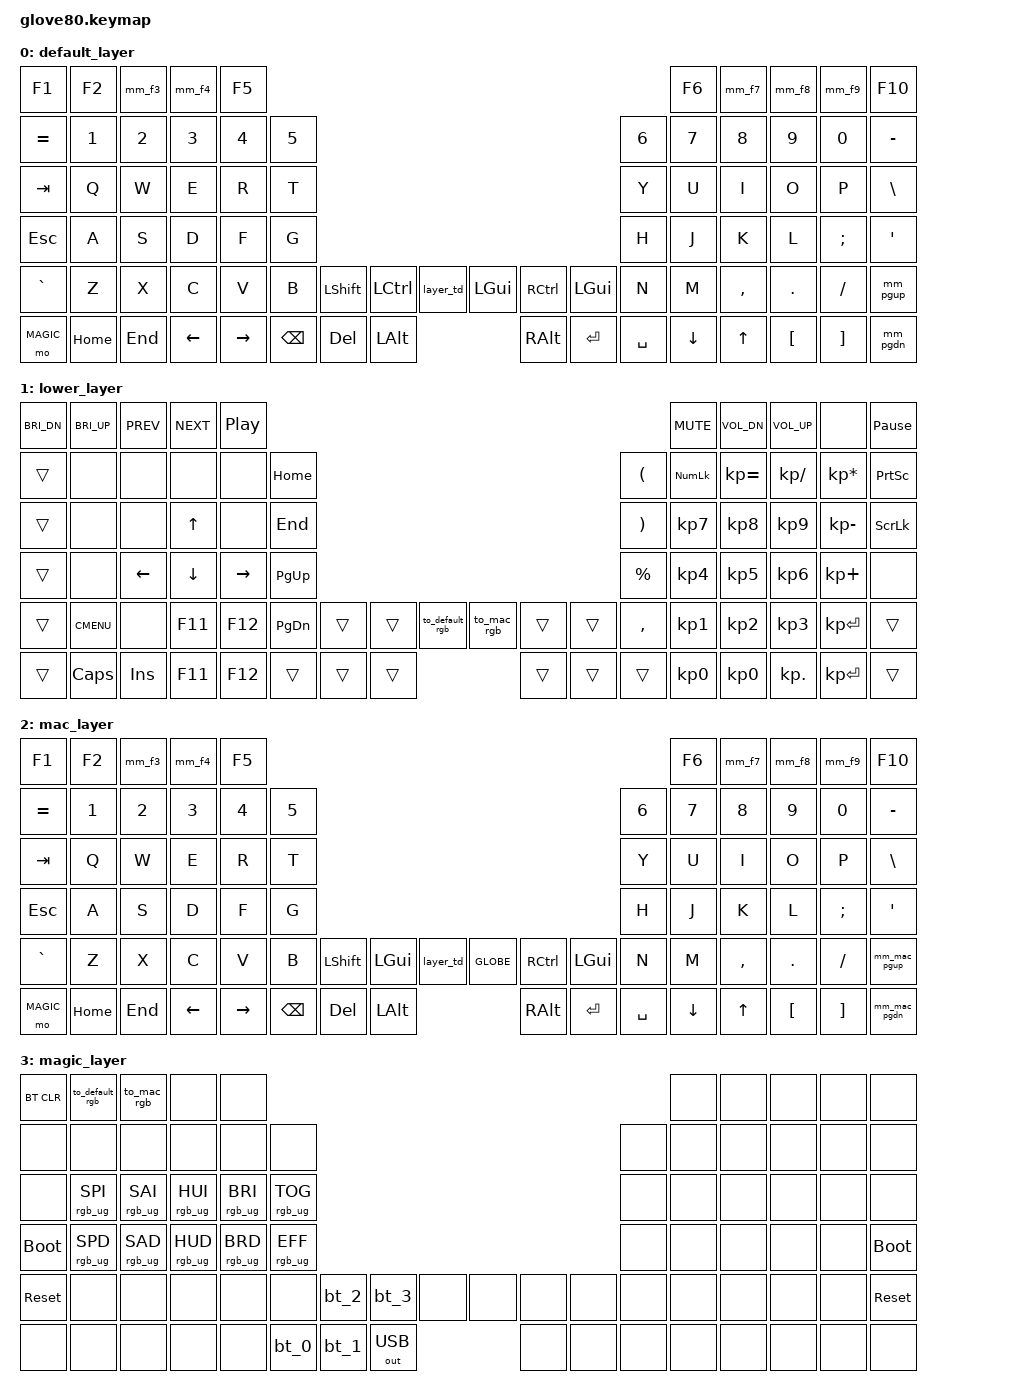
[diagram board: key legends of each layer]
/*
 * Copyright (c) 2020 The ZMK Contributors
 *
 * SPDX-License-Identifier: MIT
 */

#include <behaviors.dtsi>
#include <dt-bindings/zmk/keys.h>
#include <dt-bindings/zmk/bt.h>
#include <dt-bindings/zmk/ext_power.h>
#include <dt-bindings/zmk/outputs.h>
#include <dt-bindings/zmk/rgb.h>

// layers
#define DEFAULT 0
#define LOWER 1
#define MAC 2
#define MAGIC 3

/ {
    behaviors {
        // For the "layer" key, it'd nice to be able to use it as either a shift or a toggle.
        // Configure it as a tap dance, so the first tap (or hold) is a &mo and the second tap is a &to
        layer_td: tap_dance_0 {
            compatible = "zmk,behavior-tap-dance";
            #binding-cells = <0>;
            tapping-term-ms = <200>;
            bindings = <&mo LOWER>, <&to LOWER>;
        };

        // F3 = Prev Track | Ctrl+F3 = F3
        mm_f3: mm_f3 {
            compatible = "zmk,behavior-mod-morph";
            #binding-cells = <0>;
            bindings = <&kp C_PREV>, <&kp F3>;
            mods = <(MOD_LCTL|MOD_RCTL)>;
        };

        // F4 = Next Track | Ctrl+F4 = F4
        mm_f4: mm_f4 {
            compatible = "zmk,behavior-mod-morph";
            #binding-cells = <0>;
            bindings = <&kp C_NEXT>, <&kp F4>;
            mods = <(MOD_LCTL|MOD_RCTL)>;
        };

        // F7 = Play/Pause | Ctrl+F7 = F7
        mm_f7: mm_f7 {
            compatible = "zmk,behavior-mod-morph";
            #binding-cells = <0>;
            bindings = <&kp C_PP>, <&kp F7>;
            mods = <(MOD_LCTL|MOD_RCTL)>;
        };

        // F8 = Vol Down | Ctrl+F8 = F8
        mm_f8: mm_f8 {
            compatible = "zmk,behavior-mod-morph";
            #binding-cells = <0>;
            bindings = <&kp C_VOL_DN>, <&kp F8>;
            mods = <(MOD_LCTL|MOD_RCTL)>;
        };

        // F9 = Vol Up | Ctrl+F9 = F9
        mm_f9: mm_f9 {
            compatible = "zmk,behavior-mod-morph";
            #binding-cells = <0>;
            bindings = <&kp C_VOL_UP>, <&kp F9>;
            mods = <(MOD_LCTL|MOD_RCTL)>;
        };

        // PgUp = Ctrl+Tab | Ctrl+PgUp = PgUp
        mm_pgup: mm_pgup {
            compatible = "zmk,behavior-mod-morph";
            #binding-cells = <0>;
            bindings = <&mc_ctrl_tab>, <&kp PG_UP>;
            mods = <(MOD_LCTL|MOD_RCTL)>;
        };

        // PgDn = Ctrl+Shift+Tab | Ctrl+PgDn = PgDn
        mm_pgdn: mm_pgdn {
            compatible = "zmk,behavior-mod-morph";
            #binding-cells = <0>;
            bindings = <&mc_ctrl_shift_tab>, <&kp PG_DN>;
            mods = <(MOD_LCTL|MOD_RCTL)>;
        };

        // Mac PgUp = Opt+Cmd+Right | Ctrl+PgUp = PgUp
        mm_mac_pgup: mm_mac_pgup {
            compatible = "zmk,behavior-mod-morph";
            #binding-cells = <0>;
            bindings = <&mc_opt_cmd_right>, <&kp PG_UP>;
            mods = <(MOD_LCTL|MOD_RCTL)>;
        };

        // Mac PgDn = Opt+Cmd+Left | Ctrl+PgDn = PgDn
        mm_mac_pgdn: mm_mac_pgdn {
            compatible = "zmk,behavior-mod-morph";
            #binding-cells = <0>;
            bindings = <&mc_opt_cmd_left>, <&kp PG_DN>;
            mods = <(MOD_LCTL|MOD_RCTL)>;
        };
    };

    macros {
        bt_0: bt_profile_macro_0 {
            compatible = "zmk,behavior-macro";
            #binding-cells = <0>;
            bindings
                = <&out OUT_BLE>,
                  <&bt BT_SEL 0>;
        };

        bt_1: bt_profile_macro_1 {
            compatible = "zmk,behavior-macro";
            #binding-cells = <0>;
            bindings
                = <&out OUT_BLE>,
                  <&bt BT_SEL 1>;
        };

        bt_2: bt_profile_macro_2 {
            compatible = "zmk,behavior-macro";
            #binding-cells = <0>;
            bindings
                = <&out OUT_BLE>,
                  <&bt BT_SEL 2>;
        };

        bt_3: bt_profile_macro_3 {
            compatible = "zmk,behavior-macro";
            #binding-cells = <0>;
            bindings
                = <&out OUT_BLE>,
                  <&bt BT_SEL 3>;
        };

        // Sends Ctrl+Tab (used by PgUp key)
        mc_ctrl_tab: mc_ctrl_tab {
            compatible = "zmk,behavior-macro";
            #binding-cells = <0>;
            bindings
                = <&macro_press &kp LCTRL>,
                  <&macro_tap &kp TAB>,
                  <&macro_release &kp LCTRL>;
        };

        // Sends Ctrl+Shift+Tab (used by PgDn key)
        mc_ctrl_shift_tab: mc_ctrl_shift_tab {
            compatible = "zmk,behavior-macro";
            #binding-cells = <0>;
            bindings
                = <&macro_press &kp LCTRL>,
                  <&macro_press &kp LSHFT>,
                  <&macro_tap &kp TAB>,
                  <&macro_release &kp LSHFT>,
                  <&macro_release &kp LCTRL>;
        };

        // Sends Opt+Cmd+Right (Mac PgUp)
        mc_opt_cmd_right: mc_opt_cmd_right {
            compatible = "zmk,behavior-macro";
            #binding-cells = <0>;
            bindings
                = <&macro_press &kp LALT>,
                  <&macro_press &kp LGUI>,
                  <&macro_tap &kp RIGHT>,
                  <&macro_release &kp LGUI>,
                  <&macro_release &kp LALT>;
        };

        // Sends Opt+Cmd+Left (Mac PgDn)
        mc_opt_cmd_left: mc_opt_cmd_left {
            compatible = "zmk,behavior-macro";
            #binding-cells = <0>;
            bindings
                = <&macro_press &kp LALT>,
                  <&macro_press &kp LGUI>,
                  <&macro_tap &kp LEFT>,
                  <&macro_release &kp LGUI>,
                  <&macro_release &kp LALT>;
        };

        // Switch to DEFAULT (PC) layer + set underglow blue
        to_default_rgb: to_default_rgb {
            compatible = "zmk,behavior-macro";
            #binding-cells = <0>;
            bindings
                = <&to DEFAULT>,
                  <&rgb_ug RGB_COLOR_HSB(220,100,50)>;
        };

        // Switch to MAC layer + set underglow green
        to_mac_rgb: to_mac_rgb {
            compatible = "zmk,behavior-macro";
            #binding-cells = <0>;
            bindings
                = <&to MAC>,
                  <&rgb_ug RGB_COLOR_HSB(140,100,50)>;
        };
    };

    keymap {
        compatible = "zmk,keymap";

        default_layer {
            // ---------------------------------------------------------------------------------------------------------------------------------
            // |  F1   |  F2 |  F3 |  F4  |  F5  |                                                               |  F6   |  F7   |  F8  |   F9  |  F10 |
            // |  =    |  1  |  2  |  3   |  4   |  5   |                                                 |  6   |   7   |   8   |  9   |   0   |   -  |
            // |  TAB  |  Q  |  W  |  E   |  R   |  T   |                                                 |  Y   |   U   |   I   |  O   |   P   |   \  |
            // |  ESC  |  A  |  S  |  D   |  F   |  G   |                                                 |  H   |   J   |   K   |  L   |   ;   |   '  |
            // |   `   |  Z  |  X  |  C   |  V   |  B   | LSHFT | LCTRL | LOWER | | LGUI  | RCTRL | LGUI  |  N   |   M   |   ,   |  .   |   /   | PGUP |
            // | MAGIC | HOME| END | LEFT | RIGHT|      | BSPC  | DEL   | LALT  | | RALT  | RET   | SPACE |      |  UP   | DOWN  |  [   |   ]   | PGDN |

            bindings = <
            &kp F1         &kp F2   &mm_f3      &mm_f4      &kp F5                                                                                         &kp F6  &mm_f7      &mm_f8      &mm_f9      &kp F10
            &kp EQUAL      &kp N1   &kp N2      &kp N3      &kp N4      &kp N5                                                                     &kp N6  &kp N7  &kp N8      &kp N9      &kp N0      &kp MINUS
            &kp TAB        &kp Q    &kp W       &kp E       &kp R       &kp T                                                                      &kp Y   &kp U   &kp I       &kp O       &kp P       &kp BSLH
            &kp ESC        &kp A    &kp S       &kp D       &kp F       &kp G                                                                      &kp H   &kp J   &kp K       &kp L       &kp SEMI    &kp SQT
            &kp GRAVE      &kp Z    &kp X       &kp C       &kp V       &kp B   &kp LSHFT   &kp LCTRL   &layer_td  &kp LGUI  &kp RCTRL &kp LGUI    &kp N   &kp M   &kp COMMA   &kp DOT     &kp FSLH    &mm_pgup
            &mo MAGIC      &kp HOME &kp END     &kp LEFT    &kp RIGHT           &kp BSPC    &kp DEL     &kp LALT   &kp RALT  &kp RET   &kp SPACE           &kp DOWN  &kp UP    &kp LBKT    &kp RBKT    &mm_pgdn
            >;
        };

        lower_layer {
            bindings = <
            &kp C_BRI_DN      &kp C_BRI_UP        &kp C_PREV      &kp C_NEXT      &kp C_PP                                                                                                           &kp C_MUTE   &kp C_VOL_DN &kp C_VOL_UP  &none           &kp PAUSE_BREAK
            &trans            &none               &none           &none           &none           &kp HOME                                                                              &kp LPAR     &kp KP_NUM   &kp KP_EQUAL &kp KP_DIVIDE &kp KP_MULTIPLY &kp PSCRN
            &trans            &none               &none           &kp UP          &none           &kp END                                                                               &kp RPAR     &kp KP_N7    &kp KP_N8    &kp KP_N9     &kp KP_MINUS    &kp SLCK
            &trans            &none               &kp LEFT        &kp DOWN        &kp RIGHT       &kp PG_UP                                                                             &kp PRCNT    &kp KP_N4    &kp KP_N5    &kp KP_N6     &kp KP_PLUS     &none
            &trans            &kp K_CMENU         &none           &kp F11         &kp F12         &kp PG_DN       &trans      &trans      &to_default_rgb &to_mac_rgb &trans      &trans    &kp COMMA    &kp KP_N1    &kp KP_N2    &kp KP_N3     &kp KP_ENTER    &trans
            &trans            &kp CAPS            &kp INS         &kp F11         &kp F12                         &trans      &trans      &trans      &trans      &trans      &trans                 &kp KP_N0    &kp KP_N0    &kp KP_DOT    &kp KP_ENTER    &trans
            >;
        };

        mac_layer {
            // Identical to default_layer with these modifier changes:
            //   LCTRL  → LGUI  (Command — left thumb cluster middle)
            //   RCTRL  → RCTRL (kept as regular Mac Control — right thumb cluster middle)
            //   LGUI   → GLOBE (Mac Globe/Fn — right thumb cluster top-leftmost)
            //   LALT (left-thumb bottom)  → LALT (kept as stock — Option)
            //   RGUI   → LGUI  (Command — right thumb cluster outermost)
            // ---------------------------------------------------------------------------------------------------------------------------------
            // |  F1   |  F2 |  F3 |  F4  |  F5  |                                                               |  F6   |  F7   |  F8  |   F9  |  F10 |
            // |  =    |  1  |  2  |  3   |  4   |  5   |                                                 |  6   |   7   |   8   |  9   |   0   |   -  |
            // |  TAB  |  Q  |  W  |  E   |  R   |  T   |                                                 |  Y   |   U   |   I   |  O   |   P   |   \  |
            // |  ESC  |  A  |  S  |  D   |  F   |  G   |                                                 |  H   |   J   |   K   |  L   |   ;   |   '  |
            // |   `   |  Z  |  X  |  C   |  V   |  B   | LSHFT | LGUI  | LOWER | | GLOBE | RCTRL | LGUI  |  N   |   M   |   ,   |  .   |   /   | PGUP |
            // | MAGIC | HOME| END | LEFT | RIGHT|      | BSPC  | DEL   | LALT  | | RALT  | RET   | SPACE |      |  UP   | DOWN  |  [   |   ]   | PGDN |

            bindings = <
            &kp F1         &kp F2   &mm_f3      &mm_f4      &kp F5                                                                                           &kp F6  &mm_f7      &mm_f8      &mm_f9      &kp F10
            &kp EQUAL      &kp N1   &kp N2      &kp N3      &kp N4      &kp N5                                                                       &kp N6  &kp N7  &kp N8      &kp N9      &kp N0      &kp MINUS
            &kp TAB        &kp Q    &kp W       &kp E       &kp R       &kp T                                                                        &kp Y   &kp U   &kp I       &kp O       &kp P       &kp BSLH
            &kp ESC        &kp A    &kp S       &kp D       &kp F       &kp G                                                                        &kp H   &kp J   &kp K       &kp L       &kp SEMI    &kp SQT
            &kp GRAVE      &kp Z    &kp X       &kp C       &kp V       &kp B   &kp LSHFT   &kp LGUI    &layer_td  &kp GLOBE &kp RCTRL &kp LGUI      &kp N   &kp M   &kp COMMA   &kp DOT     &kp FSLH    &mm_mac_pgup
            &mo MAGIC      &kp HOME &kp END     &kp LEFT    &kp RIGHT           &kp BSPC    &kp DEL     &kp LALT   &kp RALT  &kp RET   &kp SPACE           &kp DOWN  &kp UP    &kp LBKT    &kp RBKT    &mm_mac_pgdn
            >;
        };

        magic_layer {
            // Top row: BT_CLR | PC layout | Mac layout | ...
            bindings = <
            &bt BT_CLR        &to_default_rgb     &to_mac_rgb     &none           &none                                                                                                           &none      &none      &none      &none      &none
            &none             &none               &none           &none           &none           &none                                                                                &none      &none      &none      &none      &none      &none
            &none             &rgb_ug RGB_SPI     &rgb_ug RGB_SAI &rgb_ug RGB_HUI &rgb_ug RGB_BRI &rgb_ug RGB_TOG                                                                      &none      &none      &none      &none      &none      &none
            &bootloader       &rgb_ug RGB_SPD     &rgb_ug RGB_SAD &rgb_ug RGB_HUD &rgb_ug RGB_BRD &rgb_ug RGB_EFF                                                                      &none      &none      &none      &none      &none      &bootloader
            &sys_reset        &none               &none           &none           &none           &none           &bt_2     &bt_3     &none            &none     &none     &none       &none      &none      &none      &none      &none      &sys_reset
            &none             &none               &none           &none           &none                           &bt_0     &bt_1     &out OUT_USB     &none     &none     &none                  &none      &none      &none      &none      &none
            >;
        };
    };
};
